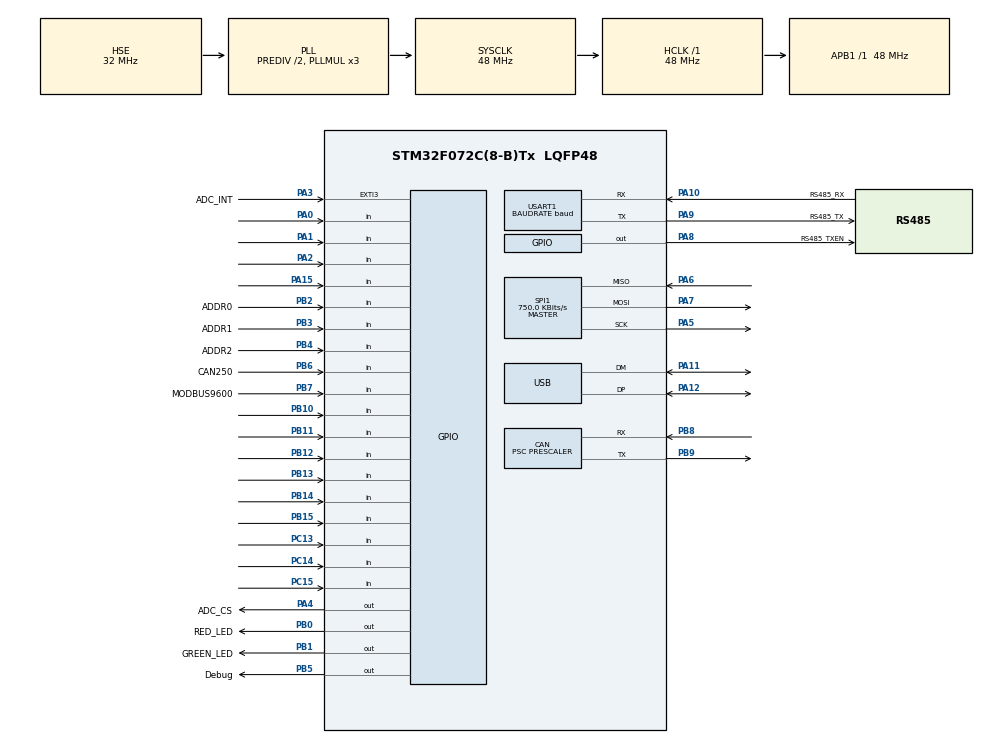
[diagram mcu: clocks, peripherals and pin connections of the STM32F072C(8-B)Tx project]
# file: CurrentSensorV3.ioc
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CAN.ABOM=ENABLE
CAN.AWUM=ENABLE
CAN.BS1=CAN_BS1_4TQ
CAN.BS2=CAN_BS2_7TQ
CAN.CalculateBaudRate=2147483647
CAN.CalculateTimeBit=0
CAN.CalculateTimeQuantum=0.0
CAN.Mode=CAN_MODE_NORMAL
CAN.Prescaler=PRESCALER
FREERTOS.Tasks01=ADCTask,24,128,StartADCTask,Default,NULL,Dynamic,NULL,NULL
FREERTOS.Timers01=GreenLedOffTimer,TurnOffGreenLED,osTimerOnce,Default,NULL,Dynamic,NULL;RedLedOffTimer,TurnOffRedLED,osTimerOnce,Default,NULL,Dynamic,NULL;sendCANDataTimer,sendCANData,osTimerPeriodic,Default,NULL,Dynamic,NULL
FREERTOS.configUSE_NEWLIB_REENTRANT=1
IWDG.Prescaler=IWDG_PRESCALER_128
Mcu.Family=STM32F0
Mcu.Name=STM32F072C(8-B)Tx
Mcu.Package=LQFP48
NVIC.CEC_CAN_IRQn=true\:3\:0\:false\:false\:true\:true\:true\:true\:true
NVIC.EXTI2_3_IRQn=true\:3\:0\:false\:false\:true\:true\:true\:true\:true
NVIC.USART1_IRQn=true\:3\:0\:false\:false\:true\:true\:true\:true\:true
PA0.GPIO_PuPd=GPIO_PULLUP
PA0.Signal=GPIO_Input
PA1.GPIO_PuPd=GPIO_PULLUP
PA1.Signal=GPIO_Input
PA10.GPIO_Label=RS485_RX
PA10.Mode=Asynchronous
PA10.Signal=USART1_RX
PA11.Mode=Device
PA11.Signal=USB_DM
PA12.Mode=Device
PA12.Signal=USB_DP
PA13.Mode=Serial_Wire
PA13.Signal=SYS_SWDIO
PA14.Mode=Serial_Wire
PA14.Signal=SYS_SWCLK
PA15.GPIO_PuPd=GPIO_PULLUP
PA15.Signal=GPIO_Input
PA2.GPIO_PuPd=GPIO_PULLUP
PA2.Signal=GPIO_Input
PA3.GPIO_Label=ADC_INT
PA3.GPIO_ModeDefaultEXTI=GPIO_MODE_IT_FALLING
PA3.GPIO_PuPd=GPIO_PULLUP
PA3.Signal=GPXTI3
PA4.GPIO_Label=ADC_CS
PA4.Signal=GPIO_Output
PA5.Mode=Full_Duplex_Master
PA5.Signal=SPI1_SCK
PA6.Mode=Full_Duplex_Master
PA6.Signal=SPI1_MISO
PA7.Mode=Full_Duplex_Master
PA7.Signal=SPI1_MOSI
PA8.GPIO_Label=RS485_TXEN
PA8.Signal=GPIO_Output
PA9.GPIO_Label=RS485_TX
PA9.Mode=Asynchronous
PA9.Signal=USART1_TX
PB0.GPIO_Label=RED_LED
PB0.GPIO_ModeDefaultOutputPP=GPIO_MODE_OUTPUT_PP
PB0.GPIO_PuPd=GPIO_NOPULL
PB0.Signal=GPIO_Output
PB1.GPIO_Label=GREEN_LED
PB1.Signal=GPIO_Output
PB10.GPIO_PuPd=GPIO_PULLUP
PB10.Signal=GPIO_Input
PB11.GPIO_PuPd=GPIO_PULLUP
PB11.Signal=GPIO_Input
PB12.GPIO_PuPd=GPIO_PULLUP
PB12.Signal=GPIO_Input
PB13.GPIO_PuPd=GPIO_PULLUP
PB13.Signal=GPIO_Input
PB14.GPIO_PuPd=GPIO_PULLUP
PB14.Signal=GPIO_Input
PB15.GPIO_PuPd=GPIO_PULLUP
PB15.Signal=GPIO_Input
PB2.GPIO_Label=ADDR0
PB2.GPIO_PuPd=GPIO_PULLUP
PB2.Signal=GPIO_Input
PB3.GPIO_Label=ADDR1
PB3.GPIO_PuPd=GPIO_PULLUP
PB3.Signal=GPIO_Input
PB4.GPIO_Label=ADDR2
PB4.GPIO_PuPd=GPIO_PULLUP
PB4.Signal=GPIO_Input
PB5.GPIO_Label=Debug
PB5.GPIO_Speed=GPIO_SPEED_FREQ_HIGH
PB5.Signal=GPIO_Output
PB6.GPIO_Label=CAN250
PB6.GPIO_PuPd=GPIO_PULLUP
PB6.Signal=GPIO_Input
PB7.GPIO_Label=MODBUS9600
PB7.GPIO_PuPd=GPIO_PULLUP
PB7.Signal=GPIO_Input
PB8.Mode=CAN_Activate
PB8.Signal=CAN_RX
PB9.Mode=CAN_Activate
PB9.Signal=CAN_TX
PC13.GPIO_PuPd=GPIO_PULLUP
PC13.Signal=GPIO_Input
PC14-OSC32_IN.GPIO_PuPd=GPIO_PULLUP
PC14-OSC32_IN.Signal=GPIO_Input
PC15-OSC32_OUT.GPIO_PuPd=GPIO_PULLUP
PC15-OSC32_OUT.Signal=GPIO_Input
PF0-OSC_IN.Mode=HSE-External-Oscillator
PF0-OSC_IN.Signal=RCC_OSC_IN
PF1-OSC_OUT.Mode=HSE-External-Oscillator
PF1-OSC_OUT.Signal=RCC_OSC_OUT
ProjectManager.HeapSize=0x200
ProjectManager.StackSize=0x400
ProjectManager.TargetToolchain=STM32CubeIDE
RCC.AHBFreq_Value=48000000
RCC.APB1Freq_Value=48000000
RCC.APB1TimFreq_Value=48000000
RCC.HCLKFreq_Value=48000000
RCC.HSE_VALUE=32000000
RCC.PLLDivider=RCC_PREDIV_DIV2
RCC.PLLMUL=RCC_PLL_MUL3
RCC.PLLSourceVirtual=RCC_PLLSOURCE_HSE
RCC.SYSCLKFreq_VALUE=48000000
RCC.SYSCLKSource=RCC_SYSCLKSOURCE_PLLCLK
SPI1.BaudRatePrescaler=SPI_BAUDRATEPRESCALER_64
SPI1.CalculateBaudRate=750.0 KBits/s
SPI1.DataSize=SPI_DATASIZE_8BIT
SPI1.Direction=SPI_DIRECTION_2LINES
SPI1.Mode=SPI_MODE_MASTER
SPI1.VirtualType=VM_MASTER
USART1.BaudRate=BAUDRATE
USART1.VirtualMode-Asynchronous=VM_ASYNC
VP_FREERTOS_VS_CMSIS_V2.Mode=CMSIS_V2
VP_IWDG_VS_IWDG.Mode=IWDG_Activate
board=custom

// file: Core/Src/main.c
/* USER CODE BEGIN Header */
/**
  ******************************************************************************
  * @file           : main.c
  * @brief          : Main program body
  ******************************************************************************
  * @attention
  *
  * Copyright (c) 2023 STMicroelectronics.
  * All rights reserved.
  *
  * This software is licensed under terms that can be found in the LICENSE file
  * in the root directory of this software component.
  * If no LICENSE file comes with this software, it is provided AS-IS.
  *
  ******************************************************************************
  */
/* USER CODE END Header */
#include "main.h"
#include "cmsis_os.h"
#include "can.h"
#include "iwdg.h"
#include "spi.h"
#include "usart.h"
#include "usb.h"
#include "gpio.h"

/* USER CODE BEGIN Includes */
#include "MCP3462.h"
/* USER CODE END Includes */

/* USER CODE BEGIN PV */
modbusHandler_t ModbusH;
ModbusDATA_t ModbusDATA;

/* USER CODE END PV */

void SystemClock_Config(void);
void MX_FREERTOS_Init(void);

int main(void)
{

  /* MCU Configuration--------------------------------------------------------*/

  /* Reset of all peripherals, Initializes the Flash interface and the Systick. */
  HAL_Init();

  /* Configure the system clock */
  SystemClock_Config();

  /* Initialize all configured peripherals */
  MX_GPIO_Init();
  MX_CAN_Init();
  MX_SPI1_Init();
  MX_USART1_UART_Init();
  MX_USB_PCD_Init();
  MX_IWDG_Init();
  /* USER CODE BEGIN 2 */

  /* Get the slope and offset parameters from Flash memory */
  LoadCalibrationData();

  /* flash LEDs to show startup */
  for ( int i = 0; i < 5; i++) {
	  HAL_GPIO_WritePin(GREEN_LED_GPIO_Port, GREEN_LED_Pin, GPIO_PIN_SET);
	  HAL_Delay(100);
	  HAL_GPIO_WritePin(RED_LED_GPIO_Port, RED_LED_Pin, GPIO_PIN_SET);
	  HAL_Delay(100);
	  HAL_GPIO_WritePin(GREEN_LED_GPIO_Port, GREEN_LED_Pin, GPIO_PIN_RESET);
	  HAL_Delay(100);
	  HAL_GPIO_WritePin(RED_LED_GPIO_Port, RED_LED_Pin, GPIO_PIN_RESET);
	  HAL_Delay(100);
  }

  /* USER CODE END 2 */

  /* Init scheduler */
  osKernelInitialize();

  /* Call init function for freertos objects (in freertos.c) */
  MX_FREERTOS_Init();

  /* Start scheduler */
  osKernelStart();

  /* We should never get here as control is now taken by the scheduler */
  /* Infinite loop */
  /* USER CODE BEGIN WHILE */
  while (1)
  {
	  HAL_GPIO_WritePin(RED_LED_GPIO_Port, RED_LED_Pin, GPIO_PIN_SET);
	  HAL_Delay(200);
	  HAL_GPIO_WritePin(RED_LED_GPIO_Port, RED_LED_Pin, GPIO_PIN_RESET);
	  HAL_Delay(100);
    /* USER CODE END WHILE */

  }
}

void SystemClock_Config(void)
{
  RCC_OscInitTypeDef RCC_OscInitStruct = {0};
  RCC_ClkInitTypeDef RCC_ClkInitStruct = {0};
  RCC_PeriphCLKInitTypeDef PeriphClkInit = {0};

  /** Initializes the RCC Oscillators according to the specified parameters
  * in the RCC_OscInitTypeDef structure.
  */
  RCC_OscInitStruct.OscillatorType = RCC_OSCILLATORTYPE_HSI48|RCC_OSCILLATORTYPE_LSI
                              |RCC_OSCILLATORTYPE_HSE;
  RCC_OscInitStruct.HSEState = RCC_HSE_ON;
  RCC_OscInitStruct.HSI48State = RCC_HSI48_ON;
  RCC_OscInitStruct.LSIState = RCC_LSI_ON;
  RCC_OscInitStruct.PLL.PLLState = RCC_PLL_ON;
  RCC_OscInitStruct.PLL.PLLSource = RCC_PLLSOURCE_HSE;
  RCC_OscInitStruct.PLL.PLLMUL = RCC_PLL_MUL3;
  RCC_OscInitStruct.PLL.PREDIV = RCC_PREDIV_DIV2;
  if (HAL_RCC_OscConfig(&RCC_OscInitStruct) != HAL_OK)
  {
    Error_Handler();
  }

  /** Initializes the CPU, AHB and APB buses clocks
  */
  RCC_ClkInitStruct.ClockType = RCC_CLOCKTYPE_HCLK|RCC_CLOCKTYPE_SYSCLK
                              |RCC_CLOCKTYPE_PCLK1;
  RCC_ClkInitStruct.SYSCLKSource = RCC_SYSCLKSOURCE_PLLCLK;
  RCC_ClkInitStruct.AHBCLKDivider = RCC_SYSCLK_DIV1;
  RCC_ClkInitStruct.APB1CLKDivider = RCC_HCLK_DIV1;

  if (HAL_RCC_ClockConfig(&RCC_ClkInitStruct, FLASH_LATENCY_1) != HAL_OK)
  {
    Error_Handler();
  }
  PeriphClkInit.PeriphClockSelection = RCC_PERIPHCLK_USB|RCC_PERIPHCLK_USART1;
  PeriphClkInit.Usart1ClockSelection = RCC_USART1CLKSOURCE_PCLK1;
  PeriphClkInit.UsbClockSelection = RCC_USBCLKSOURCE_HSI48;

  if (HAL_RCCEx_PeriphCLKConfig(&PeriphClkInit) != HAL_OK)
  {
    Error_Handler();
  }
}

void Error_Handler(void)
{
  /* USER CODE BEGIN Error_Handler_Debug */
  /* User can add his own implementation to report the HAL error return state */
  __disable_irq();
  while (1)
  {
	  /* flash thee RED LED to show we hit a problem. The watchdog will reset us eventually. */
	  HAL_GPIO_WritePin(RED_LED_GPIO_Port, RED_LED_Pin, GPIO_PIN_SET);
	  HAL_Delay(50);
	  HAL_GPIO_WritePin(RED_LED_GPIO_Port, RED_LED_Pin, GPIO_PIN_RESET);
	  HAL_Delay(100);
  }
  /* USER CODE END Error_Handler_Debug */
}

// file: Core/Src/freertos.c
/* USER CODE BEGIN Header */
/**
  ******************************************************************************
  * File Name          : freertos.c
  * Description        : Code for freertos applications
  ******************************************************************************
  * @attention
  *
  * Copyright (c) 2023 STMicroelectronics.
  * All rights reserved.
  *
  * This software is licensed under terms that can be found in the LICENSE file
  * in the root directory of this software component.
  * If no LICENSE file comes with this software, it is provided AS-IS.
  *
  ******************************************************************************
  */
/* USER CODE END Header */

#include "FreeRTOS.h"
#include "task.h"
#include "main.h"
#include "cmsis_os.h"

/* USER CODE BEGIN Includes */
#include "InterruptHandlers.h"
#include "semphr.h"
#include "MCP3462.h"
#include "can.h"
#include  "string.h"

/* USER CODE END Includes */

/* USER CODE BEGIN PD */
extern IWDG_HandleTypeDef hiwdg;
/* USER CODE END PD */

/* USER CODE BEGIN Variables */

uint16_t CANBaseAddress = 0x50;		// Base address for the CAN bus is offset by the links set on the board
int32_t lastCurrent = 0;
int32_t lastVoltage = 0;
bool newVoltage = false;
bool newCurrent = false;

/* USER CODE END Variables */
/* Definitions for ADCTask */
osThreadId_t ADCTaskHandle;
const osThreadAttr_t ADCTask_attributes = {
  .name = "ADCTask",
  .stack_size = 128 * 4,
  .priority = (osPriority_t) osPriorityNormal,
};
/* Definitions for GreenLedOffTimer */
osTimerId_t GreenLedOffTimerHandle;
const osTimerAttr_t GreenLedOffTimer_attributes = {
  .name = "GreenLedOffTimer"
};
/* Definitions for RedLedOffTimer */
osTimerId_t RedLedOffTimerHandle;
const osTimerAttr_t RedLedOffTimer_attributes = {
  .name = "RedLedOffTimer"
};
/* Definitions for sendCANDataTimer */
osTimerId_t sendCANDataTimerHandle;
const osTimerAttr_t sendCANDataTimer_attributes = {
  .name = "sendCANDataTimer"
};

void StartADCTask(void *argument);
void TurnOffGreenLED(void *argument);
void TurnOffRedLED(void *argument);
void sendCANData(void *argument);

void MX_FREERTOS_Init(void); /* (MISRA C 2004 rule 8.1) */

void MX_FREERTOS_Init(void) {
  /* USER CODE BEGIN Init */
	ModbusH.uModbusType = MB_SLAVE;
	ModbusH.port =  &huart1;

	// Links 0..2 set the low byte of the Modbus address so it ranges from 0x10 to 0x17
	int ModbusAddressOffset = 0;
	if (HAL_GPIO_ReadPin(ADDR0_GPIO_Port, ADDR0_Pin)) {
		ModbusAddressOffset |= 1;
		CANBaseAddress |= 0x08;
	}
	if (HAL_GPIO_ReadPin(ADDR1_GPIO_Port, ADDR1_Pin)) {
		ModbusAddressOffset |= 2;
		CANBaseAddress |= 0x10;
	}
	if (HAL_GPIO_ReadPin(ADDR2_GPIO_Port, ADDR2_Pin)) {
		ModbusAddressOffset |= 4;
		CANBaseAddress |= 0x20;
	}
	ModbusH.u8id = ModbusSlaveID + ModbusAddressOffset;
	ModbusH.u16timeOut = ModbusTimeoutMs;			// Modbus timeout in Milliseconds

	//  ModbusH.EN_Port = NULL;
	// Port for the TXEN line to enable the RS485 driver
	ModbusH.EN_Port = RS485_TXEN_GPIO_Port;
	ModbusH.EN_Pin = RS485_TXEN_Pin;

	ModbusH.u16regs = ModbusDATA;
	ModbusH.u16regsize= sizeof(ModbusDATA)/sizeof(ModbusDATA[0]);
	ModbusH.xTypeHW = USART_HW;
	//Initialize Modbus library
	ModbusInit(&ModbusH);

	//Start capturing traffic on serial Port
	ModbusStart(&ModbusH);

  /* USER CODE END Init */

  /* Create the timer(s) */
  /* creation of GreenLedOffTimer */
  GreenLedOffTimerHandle = osTimerNew(TurnOffGreenLED, osTimerOnce, NULL, &GreenLedOffTimer_attributes);

  /* creation of RedLedOffTimer */
  RedLedOffTimerHandle = osTimerNew(TurnOffRedLED, osTimerOnce, NULL, &RedLedOffTimer_attributes);

  /* creation of sendCANDataTimer */
  sendCANDataTimerHandle = osTimerNew(sendCANData, osTimerPeriodic, NULL, &sendCANDataTimer_attributes);

  /* USER CODE BEGIN RTOS_TIMERS */
	/* start timers, add new ones, ... */

	osTimerStart(sendCANDataTimerHandle, 5000);	// Send the calibration data every 5 seconds

  /* USER CODE END RTOS_TIMERS */

  /* Create the thread(s) */
  /* creation of ADCTask */
  ADCTaskHandle = osThreadNew(StartADCTask, NULL, &ADCTask_attributes);

  /* USER CODE BEGIN RTOS_EVENTS */
	/* add events, ... */
	StartCANReception(hcan);

  /* USER CODE END RTOS_EVENTS */

}

/* USER CODE BEGIN Header_StartADCTask */
#define BufferSize 100

typedef struct {
	int32_t data[BufferSize];
	int dataPtr;
} ringBuffer;

struct {
	ringBuffer voltage;
	ringBuffer current;
} adcBuffer;

/**
 * Clears the ADC buffer
 */
void ResetBuffer() {
	for (int i = 0; i < BufferSize; i++) {
		adcBuffer.voltage.data[i] = 0;
		adcBuffer.voltage.dataPtr = 0;
		adcBuffer.current.data[i] = 0;
		adcBuffer.current.dataPtr = 0;
	}
}

/**
 * Calculate average voltage
 */
int32_t CalculateAverageVoltage() {
	int32_t voltage = 0;
	for (int i = 0; i < BufferSize; i++) {
		voltage += adcBuffer.voltage.data[i];
	}
	return voltage / BufferSize;
}

/**
 * Applies the calibration values to calculate the actual voltage
 */
uint16_t  CalculateActualVoltage(double rawVoltage) {
	double m;
	double c;
	double v;
	GetVoltageCalibration(&m, &c);
	v = (m * rawVoltage) + c;
	return (uint16_t)v;
}

/**
 * Calculate average current
 */
int32_t CalculateAverageCurrent() {
	int32_t current = 0;
	for (int i = 0; i < BufferSize; i++) {
		current += adcBuffer.current.data[i] * 100;
	}
	return current  / BufferSize;
}

/**
 * Applies the calibration values to calculate the actual current
 */
int32_t CalculateActualCurrent(double rawCurrent) {
	double m;
	double c;
	double i;
	GetCurrentCalibration(&m, &c);
	i = (m * rawCurrent) + c;
	return (int32_t)i;
}

uint8_t CANBuffer[8];	// Define an 8 byte buffer for information sent on the CAN bus
CAN_TxHeaderTypeDef msg;

void SendBufferOverCAN(int16_t messageID, const uint8_t *buffer) {
	uint32_t mb;	// TxMailbox returned by the HAL driver

	msg.DLC = 8;	// 8 bytes of data
	msg.ExtId = 0;
	msg.StdId = CANBaseAddress + messageID;
	msg.IDE = CAN_ID_STD;
	msg.RTR = CAN_RTR_DATA;
	msg.TransmitGlobalTime = DISABLE;

	if (HAL_CAN_GetTxMailboxesFreeLevel(&hcan) > 0) {

		HAL_StatusTypeDef st = HAL_CAN_AddTxMessage(&hcan, &msg, buffer, &mb);
		if (st != HAL_OK) {
			// Turn on Red LED to indicate there is a problem
			HAL_GPIO_WritePin(RED_LED_GPIO_Port, RED_LED_Pin, GPIO_PIN_SET);
			xTimerStart(RedLedOffTimerHandle, 75);

//			char* err;
//			switch(hcan.ErrorCode) {
//			case HAL_CAN_ERROR_NONE : err = NULL;
//			break;
//			case HAL_CAN_ERROR_EWG : err =   "Protocol Error Warning";
//			break;
//			case HAL_CAN_ERROR_EPV : err =   "Error Passive";
//			break;
//			case HAL_CAN_ERROR_BOF : err =   "Bus-off error";
//			break;
//			case HAL_CAN_ERROR_STF : err =   "Stuff error";
//			break;
//			case HAL_CAN_ERROR_FOR : err =   "Form error";
//			break;
//			case HAL_CAN_ERROR_ACK : err =   "Acknowledgment error";
//			break;
//			case HAL_CAN_ERROR_BR : err =   "Bit recessive error";
//			break;
//			case HAL_CAN_ERROR_BD : err =   "Bit dominant error";
//			break;
//			case HAL_CAN_ERROR_CRC : err =   "CRC error";
//			break;
//			case HAL_CAN_ERROR_RX_FOV0 : err =   "Rx FIFO0 overrun error";
//			break;
//			case HAL_CAN_ERROR_RX_FOV1  : err =   "Rx FIFO1 overrun error";
//			break;
//			case HAL_CAN_ERROR_TX_ALST0 : err =   "TxMailbox 0 transmit failure due to arbitration lost";
//			break;
//			case HAL_CAN_ERROR_TX_TERR0 : err =   "TxMailbox 0 transmit failure due to transmit error";
//			break;
//			case HAL_CAN_ERROR_TX_ALST1 : err =   "TxMailbox 1 transmit failure due to arbitration lost";
//			break;
//			case HAL_CAN_ERROR_TX_TERR1 : err =   "TxMailbox 1 transmit failure due to transmit error";
//			break;
//			case HAL_CAN_ERROR_TX_ALST2 : err =   "TxMailbox 2 transmit failure due to arbitration lost";
//			break;
//			case HAL_CAN_ERROR_TX_TERR2 : err =   "TxMailbox 2 transmit failure due to transmit error ";
//			break;
//			case HAL_CAN_ERROR_TIMEOUT : err =   "Timeout error";
//			break;
//			case HAL_CAN_ERROR_NOT_INITIALIZED : err =   "Peripheral not initialized";
//			break;
//			case HAL_CAN_ERROR_NOT_READY : err =   "Peripheral not ready";
//			break;
//			case HAL_CAN_ERROR_NOT_STARTED : err = "Peripheral not started";
//			break;
//			case HAL_CAN_ERROR_PARAM : err =   "Parameter error ";
//			break;
//			}
		}
	} else {
		HAL_GPIO_WritePin(RED_LED_GPIO_Port, RED_LED_Pin, GPIO_PIN_SET);
		xTimerStart(RedLedOffTimerHandle, 75);
	}
}

void SendVoltageOverCAN(uint32_t raw, uint16_t calculated) {
	uint8_t Buffer[8];
	memset(Buffer, 0, sizeof(Buffer));
	memcpy(Buffer, &calculated, 2);			// Calculated value goes in the first two bytes
	memcpy(Buffer + 4, &raw, 4);				// Raw value goes in byte 3 to 6

	SendBufferOverCAN(0, Buffer);
	if (HAL_GPIO_ReadPin(Debug_GPIO_Port, Debug_Pin)) {
		HAL_GPIO_WritePin(Debug_GPIO_Port, Debug_Pin, GPIO_PIN_RESET);
	} else {
		HAL_GPIO_WritePin(Debug_GPIO_Port, Debug_Pin, GPIO_PIN_SET);
	}
}

void SendCurrentOverCAN(uint32_t raw, int32_t calculated) {
	uint8_t Buffer[8];
	memset(Buffer, 0, sizeof(Buffer));
	memcpy(Buffer, &calculated, 4);			// Calculated value goes in the first four bytes
	memcpy(Buffer + 4, &raw, 4);				// Raw value goes in byte 3 to 6

	SendBufferOverCAN(1, Buffer);
}

/**
* @brief Function implementing the ADCTask thread.
* @param argument: Not used
* @retval None
*/
/* USER CODE END Header_StartADCTask */
void StartADCTask(void *argument)
{
  /* USER CODE BEGIN StartADCTask */
	uint8_t status;
	int16_t	value16;
	int32_t	value32;
	uint8_t channel;
	ResetBuffer();

  MCP3462_ADCInit();
 // StartCANReception(hcan);

  /* Infinite loop */
  for(;;)
  {
	  ulTaskNotifyTake(0, osWaitForever);

	  HAL_IWDG_Refresh(&hiwdg);

	  // Read the A-D converter
	  status = MCP3462_ADCRead(&value32, &channel);
	  if (((status & 0x18) == 0) || ((status & 0x18) == 0x18)) {
		  // No device is answering us
		  status = 0b01000000;
	  }

	  // If we have new data
	  if ((status & 0b01000000) == 0) {
		  if (channel == 0) {
//			  lastVoltage = value32;

			  SendVoltageOverCAN(value32, CalculateActualVoltage((double)value32));

//			  newVoltage = true;
			  adcBuffer.voltage.data[adcBuffer.voltage.dataPtr++] = value32;
			  if (adcBuffer.voltage.dataPtr >= BufferSize) {
				  adcBuffer.voltage.dataPtr = 0;
			  }
			  value16 = CalculateActualVoltage((double)CalculateAverageVoltage());
			  // Put the average data in the modbus registers
			  xSemaphoreTake(ModbusH.ModBusSphrHandle , 100);
			  ModbusH.u16regs[InputRegistersStart + VoltageRegister] = (uint16_t)value16;
			  xSemaphoreGive(ModbusH.ModBusSphrHandle);
		  } else {
			  lastCurrent = value32;

			  SendCurrentOverCAN(value32, CalculateActualCurrent((double)value32));

			  newCurrent = true;
			  adcBuffer.current.data[adcBuffer.current.dataPtr++] = value32;
			  if (adcBuffer.current.dataPtr >= BufferSize) {
				  adcBuffer.current.dataPtr = 0;
			  }
			  value32 = CalculateActualCurrent((double)CalculateAverageCurrent());
			  // Put the average data in the modbus registers
			  xSemaphoreTake(ModbusH.ModBusSphrHandle , 100);
			  ModbusH.u16regs[InputRegistersStart + CurrentLow] = (uint16_t)(value32 & 0xffff);
			  ModbusH.u16regs[InputRegistersStart + CurrentHigh] = (uint16_t)((value32 >> 16) & 0xffff);
			  xSemaphoreGive(ModbusH.ModBusSphrHandle);
		  }
	  }
  }
  /* USER CODE END StartADCTask */
}

/* TurnOffGreenLED function */
void TurnOffGreenLED(void *argument)
{
  /* USER CODE BEGIN TurnOffGreenLED */
	  HAL_GPIO_WritePin(GREEN_LED_GPIO_Port, GREEN_LED_Pin, GPIO_PIN_RESET);

  /* USER CODE END TurnOffGreenLED */
}

/* TurnOffRedLED function */
void TurnOffRedLED(void *argument)
{
  /* USER CODE BEGIN TurnOffRedLED */
	  HAL_GPIO_WritePin(RED_LED_GPIO_Port, RED_LED_Pin, GPIO_PIN_RESET);

  /* USER CODE END TurnOffRedLED */
}

/* sendCANData function */
void sendCANData(void *argument)
{
  /* USER CODE BEGIN sendCANData */
	// Send the voltage calibration as four 16 bit numbers
	SendBufferOverCAN(2, GetCalibrationDataPtr());

	vTaskDelay( 100 );

	// Send the low current calibration points as two 32 bit numbers
	SendBufferOverCAN(3, GetCalibrationDataPtr() + 8);

	vTaskDelay( 100 );

	// Send the high current calibration points as two 32 bit numbers
	SendBufferOverCAN(4, GetCalibrationDataPtr() + 16);
  /* USER CODE END sendCANData */
}
